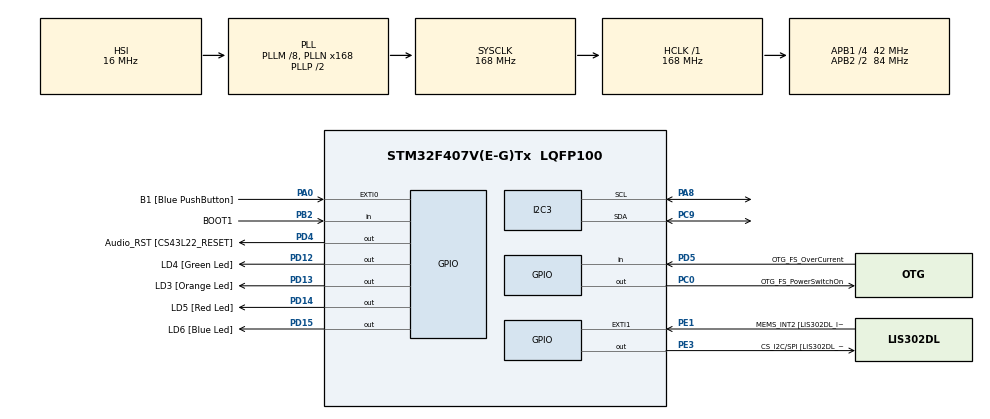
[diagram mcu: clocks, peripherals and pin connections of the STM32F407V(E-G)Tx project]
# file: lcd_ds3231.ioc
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Mcu.Family=STM32F4
Mcu.Name=STM32F407V(E-G)Tx
Mcu.Package=LQFP100
NVIC.PriorityGroup=NVIC_PRIORITYGROUP_0
PA0-WKUP.GPIO_Label=B1 [Blue PushButton]
PA0-WKUP.Signal=GPXTI0
PA10.GPIO_Label=OTG_FS_ID
PA10.GPIO_Mode=GPIO_MODE_AF_PP
PA10.GPIO_PuPd=GPIO_NOPULL
PA10.GPIO_Speed=GPIO_SPEED_FREQ_LOW
PA10.Signal=USB_OTG_FS_ID
PA11.GPIO_Label=OTG_FS_DM
PA11.GPIO_Mode=GPIO_MODE_AF_PP
PA11.GPIO_PuPd=GPIO_NOPULL
PA11.GPIO_Speed=GPIO_SPEED_FREQ_LOW
PA11.Signal=USB_OTG_FS_DM
PA12.GPIO_Label=OTG_FS_DP
PA12.GPIO_Mode=GPIO_MODE_AF_PP
PA12.GPIO_PuPd=GPIO_NOPULL
PA12.GPIO_Speed=GPIO_SPEED_FREQ_LOW
PA12.Signal=USB_OTG_FS_DP
PA13.GPIO_Label=SWDIO
PA13.Signal=SYS_JTMS-SWDIO
PA14.GPIO_Label=SWCLK
PA14.Signal=SYS_JTCK-SWCLK
PA4.GPIO_Label=I2S3_WS [CS43L22_LRCK]
PA4.GPIO_Mode=GPIO_MODE_AF_PP
PA4.GPIO_PuPd=GPIO_NOPULL
PA4.GPIO_Speed=GPIO_SPEED_FREQ_LOW
PA4.Signal=I2S3_WS
PA5.GPIO_Label=SPI1_SCK [LIS302DL_SCL/SPC]
PA5.GPIO_Mode=GPIO_MODE_AF_PP
PA5.GPIO_PuPd=GPIO_NOPULL
PA5.GPIO_Speed=GPIO_SPEED_FREQ_LOW
PA5.Signal=SPI1_SCK
PA6.GPIO_Label=SPI1_MISO [LIS302DL_SDO]
PA6.GPIO_Mode=GPIO_MODE_AF_PP
PA6.GPIO_PuPd=GPIO_NOPULL
PA6.GPIO_Speed=GPIO_SPEED_FREQ_LOW
PA6.Signal=SPI1_MISO
PA7.GPIO_Label=SPI1_MOSI [LIS302DL_SDA/SDI/SDO]
PA7.GPIO_Mode=GPIO_MODE_AF_PP
PA7.GPIO_PuPd=GPIO_NOPULL
PA7.GPIO_Speed=GPIO_SPEED_FREQ_LOW
PA7.Signal=SPI1_MOSI
PA8.Mode=I2C
PA8.Signal=I2C3_SCL
PA9.GPIO_Label=VBUS_FS
PA9.GPIO_Mode=GPIO_MODE_INPUT
PA9.GPIO_PuPd=GPIO_NOPULL
PA9.Signal=USB_OTG_FS_VBUS
PB10.GPIO_Label=CLK_IN [MP45DT02_CLK]
PB10.GPIO_Mode=GPIO_MODE_AF_PP
PB10.GPIO_PuPd=GPIO_NOPULL
PB10.GPIO_Speed=GPIO_SPEED_FREQ_LOW
PB10.Signal=I2S2_CK
PB2.GPIO_Label=BOOT1
PB2.GPIO_Mode=GPIO_MODE_INPUT
PB2.GPIO_PuPd=GPIO_NOPULL
PB2.Signal=GPIO_Input
PB3.GPIO_Label=SWO
PB3.Signal=SYS_JTDO-SWO
PB6.GPIO_Label=Audio_SCL [CS43L22_SCL]
PB6.GPIO_Mode=GPIO_MODE_AF_OD
PB6.GPIO_PuPd=GPIO_NOPULL
PB6.GPIO_Speed=GPIO_SPEED_FREQ_LOW
PB6.Signal=I2C1_SCL
PB9.GPIO_Label=Audio_SDA [CS43L22_SDA]
PB9.GPIO_Mode=GPIO_MODE_AF_OD
PB9.GPIO_PuPd=GPIO_NOPULL
PB9.GPIO_Speed=GPIO_SPEED_FREQ_LOW
PB9.Signal=I2C1_SDA
PC0.GPIO_Label=OTG_FS_PowerSwitchOn
PC0.GPIO_PuPd=GPIO_NOPULL
PC0.GPIO_Speed=GPIO_SPEED_FREQ_LOW
PC0.PinState=GPIO_PIN_SET
PC0.Signal=GPIO_Output
PC10.GPIO_Label=I2S3_SCK [CS43L22_SCLK]
PC10.GPIO_Mode=GPIO_MODE_AF_PP
PC10.GPIO_PuPd=GPIO_NOPULL
PC10.GPIO_Speed=GPIO_SPEED_FREQ_LOW
PC10.Signal=I2S3_CK
PC12.GPIO_Label=I2S3_SD [CS43L22_SDIN]
PC12.GPIO_Mode=GPIO_MODE_AF_PP
PC12.GPIO_PuPd=GPIO_NOPULL
PC12.GPIO_Speed=GPIO_SPEED_FREQ_LOW
PC12.Signal=I2S3_SD
PC14-OSC32_IN.GPIO_Label=PC14-OSC32_IN
PC14-OSC32_IN.Signal=RCC_OSC32_IN
PC15-OSC32_OUT.GPIO_Label=PC15-OSC32_OUT
PC15-OSC32_OUT.Signal=RCC_OSC32_OUT
PC3.GPIO_Label=PDM_OUT [MP45DT02_DOUT]
PC3.GPIO_Mode=GPIO_MODE_AF_PP
PC3.GPIO_PuPd=GPIO_NOPULL
PC3.GPIO_Speed=GPIO_SPEED_FREQ_LOW
PC3.Signal=I2S2_SD
PC7.GPIO_Label=I2S3_MCK [CS43L22_MCLK]
PC7.GPIO_Mode=GPIO_MODE_AF_PP
PC7.GPIO_PuPd=GPIO_NOPULL
PC7.GPIO_Speed=GPIO_SPEED_FREQ_LOW
PC7.Signal=I2S3_MCK
PC9.Mode=I2C
PC9.Signal=I2C3_SDA
PD12.GPIO_Label=LD4 [Green Led]
PD12.GPIO_PuPd=GPIO_NOPULL
PD12.GPIO_Speed=GPIO_SPEED_FREQ_LOW
PD12.Signal=GPIO_Output
PD13.GPIO_Label=LD3 [Orange Led]
PD13.GPIO_PuPd=GPIO_NOPULL
PD13.GPIO_Speed=GPIO_SPEED_FREQ_LOW
PD13.Signal=GPIO_Output
PD14.GPIO_Label=LD5 [Red Led]
PD14.GPIO_PuPd=GPIO_NOPULL
PD14.GPIO_Speed=GPIO_SPEED_FREQ_LOW
PD14.Signal=GPIO_Output
PD15.GPIO_Label=LD6 [Blue Led]
PD15.GPIO_PuPd=GPIO_NOPULL
PD15.GPIO_Speed=GPIO_SPEED_FREQ_LOW
PD15.Signal=GPIO_Output
PD4.GPIO_Label=Audio_RST [CS43L22_RESET]
PD4.GPIO_PuPd=GPIO_NOPULL
PD4.GPIO_Speed=GPIO_SPEED_FREQ_LOW
PD4.Signal=GPIO_Output
PD5.GPIO_Label=OTG_FS_OverCurrent
PD5.GPIO_Mode=GPIO_MODE_INPUT
PD5.GPIO_PuPd=GPIO_NOPULL
PD5.Signal=GPIO_Input
PE1.GPIO_Label=MEMS_INT2 [LIS302DL_INT2]
PE1.GPIO_ModeDefaultEXTI=GPIO_MODE_EVT_RISING
PE1.GPIO_PuPd=GPIO_NOPULL
PE1.Signal=GPXTI1
PE3.GPIO_Label=CS_I2C/SPI [LIS302DL_CS_I2C/SPI]
PE3.GPIO_PuPd=GPIO_NOPULL
PE3.GPIO_Speed=GPIO_SPEED_FREQ_LOW
PE3.Signal=GPIO_Output
PH0-OSC_IN.GPIO_Label=PH0-OSC_IN
PH0-OSC_IN.Mode=HSE-External-Oscillator
PH0-OSC_IN.Signal=RCC_OSC_IN
PH1-OSC_OUT.GPIO_Label=PH1-OSC_OUT
PH1-OSC_OUT.Mode=HSE-External-Oscillator
PH1-OSC_OUT.Signal=RCC_OSC_OUT
ProjectManager.HeapSize=0x200
ProjectManager.StackSize=0x400
ProjectManager.TargetToolchain=MDK-ARM V5.32
RCC.48MHZClocksFreq_Value=48000000
RCC.AHBFreq_Value=168000000
RCC.APB1CLKDivider=RCC_HCLK_DIV4
RCC.APB1Freq_Value=42000000
RCC.APB1TimFreq_Value=84000000
RCC.APB2CLKDivider=RCC_HCLK_DIV2
RCC.APB2Freq_Value=84000000
RCC.APB2TimFreq_Value=168000000
RCC.CortexFreq_Value=168000000
RCC.HCLKFreq_Value=168000000
RCC.HSE_VALUE=8000000
RCC.HSI_VALUE=16000000
RCC.LSE_VALUE=32768
RCC.PLLM=8
RCC.PLLN=168
RCC.PLLQ=7
RCC.SYSCLKFreq_VALUE=168000000
RCC.SYSCLKSource=RCC_SYSCLKSOURCE_PLLCLK
RCC.VCOOutputFreq_Value=336000000
board=STM32F407G-DISC1

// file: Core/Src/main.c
/* USER CODE BEGIN Header */
/**
  ******************************************************************************
  * @file           : main.c
  * @brief          : Main program body
  ******************************************************************************
  * @attention
  *
  * Copyright (c) 2024 STMicroelectronics.
  * All rights reserved.
  *
  * This software is licensed under terms that can be found in the LICENSE file
  * in the root directory of this software component.
  * If no LICENSE file comes with this software, it is provided AS-IS.
  *
  ******************************************************************************
  */
/* USER CODE END Header */
#include "main.h"
#include "stdio.h"
/* USER CODE BEGIN Includes */
#include "i2c-lcd.h"
/* USER CODE END Includes */

I2C_HandleTypeDef hi2c3;

void SystemClock_Config(void);
static void MX_GPIO_Init(void);
static void MX_I2C3_Init(void);

/* USER CODE BEGIN 0 */
#define DS3231_ADDRESS 0xD0

// Convert normal decimal numbers to binary coded decimal
uint8_t decToBcd(int val)
{
  return (uint8_t)( (val/10*16) + (val%10) );
}
// Convert binary coded decimal to normal decimal numbers
int bcdToDec(uint8_t val)
{
  return (int)( (val/16*10) + (val%16) );
}

typedef struct {
	uint8_t seconds;
	uint8_t minutes;
	uint8_t hour;
	uint8_t dayofweek;
	uint8_t dayofmonth;
	uint8_t month;
	uint8_t year;
}TIME;

TIME time;

// Function to set time
void Set_Time (uint8_t sec, uint8_t min, uint8_t hour, uint8_t dow, uint8_t dom, uint8_t month, uint8_t year)
{
	uint8_t set_time[7];
	set_time[0] = decToBcd(sec);
	set_time[1] = decToBcd(min);
	set_time[2] = decToBcd(hour);
	set_time[3] = decToBcd(dow);
	set_time[4] = decToBcd(dom);
	set_time[5] = decToBcd(month);
	set_time[6] = decToBcd(year);

	HAL_I2C_Mem_Write(&hi2c3, DS3231_ADDRESS, 0x00, 1, set_time, 7, 1000);
}

// Function to get time
void Get_Time (void)
{
	uint8_t get_time[7];
	HAL_I2C_Mem_Read(&hi2c3, DS3231_ADDRESS, 0x00, 1, get_time, 7, 1000);
	time.seconds = bcdToDec(get_time[0]);
	time.minutes = bcdToDec(get_time[1]);
	time.hour = bcdToDec(get_time[2]);
	time.dayofweek = bcdToDec(get_time[3]);
	time.dayofmonth = bcdToDec(get_time[4]);
	time.month = bcdToDec(get_time[5]);
	time.year = bcdToDec(get_time[6]);
}

float Get_Temp (void)
{
	uint8_t temp[2];
	HAL_I2C_Mem_Read(&hi2c3, DS3231_ADDRESS, 0x11, 1, temp, 2, 1000);
	return ((temp[0])+(temp[1]>>6)/4.0);
}

void force_temp_conv (void)
{
	uint8_t status=0;
	uint8_t control=0;
	HAL_I2C_Mem_Read(&hi2c3, DS3231_ADDRESS, 0x0F, 1, &status, 1, 100);  // read status register
	if (!(status&0x04))  // if the BSY bit is not set
	{
		HAL_I2C_Mem_Read(&hi2c3, DS3231_ADDRESS, 0x0E, 1, &control, 1, 100);  // read control register
		HAL_I2C_Mem_Write(&hi2c3, DS3231_ADDRESS, 0x0E, 1, (uint8_t *)(control|(0x20)), 1, 100);  // write modified control register with CONV bit as'1'
	}
}

float TEMP;
char buffer[15];
/* USER CODE END 0 */

int main(void)
{

  /* MCU Configuration--------------------------------------------------------*/

  /* Reset of all peripherals, Initializes the Flash interface and the Systick. */
  HAL_Init();

  /* Configure the system clock */
  SystemClock_Config();

  /* Initialize all configured peripherals */
  MX_GPIO_Init();
  MX_I2C3_Init();
  /* USER CODE BEGIN 2 */
	lcd_init();

//  lcd_send_cmd (0x80|0x00);
//  lcd_send_string("HELLO WORLD");

//  lcd_send_cmd (0x80|0x40);
//  lcd_send_string("LCD 20x4 DEMO");

//  lcd_send_cmd (0x80|0x10);
//  lcd_send_string("BY");

//  lcd_send_cmd (0x80|0x50);
//  lcd_send_string("Shubham Samal ");

// set the time here
//	Set_Time(00, 40, 17, 17, 24, 4, 24);
  /* USER CODE END 2 */

  /* Infinite loop */
  while (1)
  {
		Get_Time();
	  sprintf (buffer, "%02d:%02d:%02d", time.hour, time.minutes, time.seconds);
	  lcd_send_cmd (0x80|0x00);
//		lcd_put_cur (0,0);
	  lcd_send_string(buffer);

	  sprintf (buffer, "%02d-%02d-20%02d", time.dayofmonth, time.month, time.year);
		lcd_send_cmd (0x80|0x40);
//	  lcd_put_cur(1, 0);
	  lcd_send_string(buffer);

	  force_temp_conv();

	  TEMP = Get_Temp();

		lcd_send_cmd (0x80|0x10);

//	  lcd_put_cur(0, 10);

	  sprintf (buffer, "%f", TEMP);

	  lcd_send_string(buffer);

	  HAL_Delay(500);
  }
}

void SystemClock_Config(void)
{
  RCC_OscInitTypeDef RCC_OscInitStruct = {0};
  RCC_ClkInitTypeDef RCC_ClkInitStruct = {0};

  /** Configure the main internal regulator output voltage
  */
  __HAL_RCC_PWR_CLK_ENABLE();
  __HAL_PWR_VOLTAGESCALING_CONFIG(PWR_REGULATOR_VOLTAGE_SCALE1);

  /** Initializes the RCC Oscillators according to the specified parameters
  * in the RCC_OscInitTypeDef structure.
  */
  RCC_OscInitStruct.OscillatorType = RCC_OSCILLATORTYPE_HSI;
  RCC_OscInitStruct.HSIState = RCC_HSI_ON;
  RCC_OscInitStruct.HSICalibrationValue = RCC_HSICALIBRATION_DEFAULT;
  RCC_OscInitStruct.PLL.PLLState = RCC_PLL_ON;
  RCC_OscInitStruct.PLL.PLLSource = RCC_PLLSOURCE_HSI;
  RCC_OscInitStruct.PLL.PLLM = 8;
  RCC_OscInitStruct.PLL.PLLN = 168;
  RCC_OscInitStruct.PLL.PLLP = RCC_PLLP_DIV2;
  RCC_OscInitStruct.PLL.PLLQ = 7;
  if (HAL_RCC_OscConfig(&RCC_OscInitStruct) != HAL_OK)
  {
    Error_Handler();
  }

  /** Initializes the CPU, AHB and APB buses clocks
  */
  RCC_ClkInitStruct.ClockType = RCC_CLOCKTYPE_HCLK|RCC_CLOCKTYPE_SYSCLK
                              |RCC_CLOCKTYPE_PCLK1|RCC_CLOCKTYPE_PCLK2;
  RCC_ClkInitStruct.SYSCLKSource = RCC_SYSCLKSOURCE_PLLCLK;
  RCC_ClkInitStruct.AHBCLKDivider = RCC_SYSCLK_DIV1;
  RCC_ClkInitStruct.APB1CLKDivider = RCC_HCLK_DIV4;
  RCC_ClkInitStruct.APB2CLKDivider = RCC_HCLK_DIV2;

  if (HAL_RCC_ClockConfig(&RCC_ClkInitStruct, FLASH_LATENCY_5) != HAL_OK)
  {
    Error_Handler();
  }
}

static void MX_I2C3_Init(void)
{

  hi2c3.Instance = I2C3;
  hi2c3.Init.ClockSpeed = 100000;
  hi2c3.Init.DutyCycle = I2C_DUTYCYCLE_2;
  hi2c3.Init.OwnAddress1 = 0;
  hi2c3.Init.AddressingMode = I2C_ADDRESSINGMODE_7BIT;
  hi2c3.Init.DualAddressMode = I2C_DUALADDRESS_DISABLE;
  hi2c3.Init.OwnAddress2 = 0;
  hi2c3.Init.GeneralCallMode = I2C_GENERALCALL_DISABLE;
  hi2c3.Init.NoStretchMode = I2C_NOSTRETCH_DISABLE;
  if (HAL_I2C_Init(&hi2c3) != HAL_OK)
  {
    Error_Handler();
  }

}

static void MX_GPIO_Init(void)
{
  GPIO_InitTypeDef GPIO_InitStruct = {0};

  /* GPIO Ports Clock Enable */
  __HAL_RCC_GPIOE_CLK_ENABLE();
  __HAL_RCC_GPIOC_CLK_ENABLE();
  __HAL_RCC_GPIOH_CLK_ENABLE();
  __HAL_RCC_GPIOA_CLK_ENABLE();
  __HAL_RCC_GPIOB_CLK_ENABLE();
  __HAL_RCC_GPIOD_CLK_ENABLE();

  /*Configure GPIO pin Output Level */
  HAL_GPIO_WritePin(CS_I2C_SPI_GPIO_Port, CS_I2C_SPI_Pin, GPIO_PIN_RESET);

  /*Configure GPIO pin Output Level */
  HAL_GPIO_WritePin(OTG_FS_PowerSwitchOn_GPIO_Port, OTG_FS_PowerSwitchOn_Pin, GPIO_PIN_SET);

  /*Configure GPIO pin Output Level */
  HAL_GPIO_WritePin(GPIOD, LD4_Pin|LD3_Pin|LD5_Pin|LD6_Pin
                          |Audio_RST_Pin, GPIO_PIN_RESET);

  /*Configure GPIO pin : CS_I2C_SPI_Pin */
  GPIO_InitStruct.Pin = CS_I2C_SPI_Pin;
  GPIO_InitStruct.Mode = GPIO_MODE_OUTPUT_PP;
  GPIO_InitStruct.Pull = GPIO_NOPULL;
  GPIO_InitStruct.Speed = GPIO_SPEED_FREQ_LOW;
  HAL_GPIO_Init(CS_I2C_SPI_GPIO_Port, &GPIO_InitStruct);

  /*Configure GPIO pin : OTG_FS_PowerSwitchOn_Pin */
  GPIO_InitStruct.Pin = OTG_FS_PowerSwitchOn_Pin;
  GPIO_InitStruct.Mode = GPIO_MODE_OUTPUT_PP;
  GPIO_InitStruct.Pull = GPIO_NOPULL;
  GPIO_InitStruct.Speed = GPIO_SPEED_FREQ_LOW;
  HAL_GPIO_Init(OTG_FS_PowerSwitchOn_GPIO_Port, &GPIO_InitStruct);

  /*Configure GPIO pin : PDM_OUT_Pin */
  GPIO_InitStruct.Pin = PDM_OUT_Pin;
  GPIO_InitStruct.Mode = GPIO_MODE_AF_PP;
  GPIO_InitStruct.Pull = GPIO_NOPULL;
  GPIO_InitStruct.Speed = GPIO_SPEED_FREQ_LOW;
  GPIO_InitStruct.Alternate = GPIO_AF5_SPI2;
  HAL_GPIO_Init(PDM_OUT_GPIO_Port, &GPIO_InitStruct);

  /*Configure GPIO pin : B1_Pin */
  GPIO_InitStruct.Pin = B1_Pin;
  GPIO_InitStruct.Mode = GPIO_MODE_IT_RISING;
  GPIO_InitStruct.Pull = GPIO_NOPULL;
  HAL_GPIO_Init(B1_GPIO_Port, &GPIO_InitStruct);

  /*Configure GPIO pin : I2S3_WS_Pin */
  GPIO_InitStruct.Pin = I2S3_WS_Pin;
  GPIO_InitStruct.Mode = GPIO_MODE_AF_PP;
  GPIO_InitStruct.Pull = GPIO_NOPULL;
  GPIO_InitStruct.Speed = GPIO_SPEED_FREQ_LOW;
  GPIO_InitStruct.Alternate = GPIO_AF6_SPI3;
  HAL_GPIO_Init(I2S3_WS_GPIO_Port, &GPIO_InitStruct);

  /*Configure GPIO pins : SPI1_SCK_Pin SPI1_MISO_Pin SPI1_MOSI_Pin */
  GPIO_InitStruct.Pin = SPI1_SCK_Pin|SPI1_MISO_Pin|SPI1_MOSI_Pin;
  GPIO_InitStruct.Mode = GPIO_MODE_AF_PP;
  GPIO_InitStruct.Pull = GPIO_NOPULL;
  GPIO_InitStruct.Speed = GPIO_SPEED_FREQ_LOW;
  GPIO_InitStruct.Alternate = GPIO_AF5_SPI1;
  HAL_GPIO_Init(GPIOA, &GPIO_InitStruct);

  /*Configure GPIO pin : BOOT1_Pin */
  GPIO_InitStruct.Pin = BOOT1_Pin;
  GPIO_InitStruct.Mode = GPIO_MODE_INPUT;
  GPIO_InitStruct.Pull = GPIO_NOPULL;
  HAL_GPIO_Init(BOOT1_GPIO_Port, &GPIO_InitStruct);

  /*Configure GPIO pin : CLK_IN_Pin */
  GPIO_InitStruct.Pin = CLK_IN_Pin;
  GPIO_InitStruct.Mode = GPIO_MODE_AF_PP;
  GPIO_InitStruct.Pull = GPIO_NOPULL;
  GPIO_InitStruct.Speed = GPIO_SPEED_FREQ_LOW;
  GPIO_InitStruct.Alternate = GPIO_AF5_SPI2;
  HAL_GPIO_Init(CLK_IN_GPIO_Port, &GPIO_InitStruct);

  /*Configure GPIO pins : LD4_Pin LD3_Pin LD5_Pin LD6_Pin
                           Audio_RST_Pin */
  GPIO_InitStruct.Pin = LD4_Pin|LD3_Pin|LD5_Pin|LD6_Pin
                          |Audio_RST_Pin;
  GPIO_InitStruct.Mode = GPIO_MODE_OUTPUT_PP;
  GPIO_InitStruct.Pull = GPIO_NOPULL;
  GPIO_InitStruct.Speed = GPIO_SPEED_FREQ_LOW;
  HAL_GPIO_Init(GPIOD, &GPIO_InitStruct);

  /*Configure GPIO pins : I2S3_MCK_Pin I2S3_SCK_Pin I2S3_SD_Pin */
  GPIO_InitStruct.Pin = I2S3_MCK_Pin|I2S3_SCK_Pin|I2S3_SD_Pin;
  GPIO_InitStruct.Mode = GPIO_MODE_AF_PP;
  GPIO_InitStruct.Pull = GPIO_NOPULL;
  GPIO_InitStruct.Speed = GPIO_SPEED_FREQ_LOW;
  GPIO_InitStruct.Alternate = GPIO_AF6_SPI3;
  HAL_GPIO_Init(GPIOC, &GPIO_InitStruct);

  /*Configure GPIO pin : VBUS_FS_Pin */
  GPIO_InitStruct.Pin = VBUS_FS_Pin;
  GPIO_InitStruct.Mode = GPIO_MODE_INPUT;
  GPIO_InitStruct.Pull = GPIO_NOPULL;
  HAL_GPIO_Init(VBUS_FS_GPIO_Port, &GPIO_InitStruct);

  /*Configure GPIO pins : OTG_FS_ID_Pin OTG_FS_DM_Pin OTG_FS_DP_Pin */
  GPIO_InitStruct.Pin = OTG_FS_ID_Pin|OTG_FS_DM_Pin|OTG_FS_DP_Pin;
  GPIO_InitStruct.Mode = GPIO_MODE_AF_PP;
  GPIO_InitStruct.Pull = GPIO_NOPULL;
  GPIO_InitStruct.Speed = GPIO_SPEED_FREQ_LOW;
  GPIO_InitStruct.Alternate = GPIO_AF10_OTG_FS;
  HAL_GPIO_Init(GPIOA, &GPIO_InitStruct);

  /*Configure GPIO pin : OTG_FS_OverCurrent_Pin */
  GPIO_InitStruct.Pin = OTG_FS_OverCurrent_Pin;
  GPIO_InitStruct.Mode = GPIO_MODE_INPUT;
  GPIO_InitStruct.Pull = GPIO_NOPULL;
  HAL_GPIO_Init(OTG_FS_OverCurrent_GPIO_Port, &GPIO_InitStruct);

  /*Configure GPIO pins : Audio_SCL_Pin Audio_SDA_Pin */
  GPIO_InitStruct.Pin = Audio_SCL_Pin|Audio_SDA_Pin;
  GPIO_InitStruct.Mode = GPIO_MODE_AF_OD;
  GPIO_InitStruct.Pull = GPIO_NOPULL;
  GPIO_InitStruct.Speed = GPIO_SPEED_FREQ_LOW;
  GPIO_InitStruct.Alternate = GPIO_AF4_I2C1;
  HAL_GPIO_Init(GPIOB, &GPIO_InitStruct);

  /*Configure GPIO pin : MEMS_INT2_Pin */
  GPIO_InitStruct.Pin = MEMS_INT2_Pin;
  GPIO_InitStruct.Mode = GPIO_MODE_EVT_RISING;
  GPIO_InitStruct.Pull = GPIO_NOPULL;
  HAL_GPIO_Init(MEMS_INT2_GPIO_Port, &GPIO_InitStruct);

}

void Error_Handler(void)
{
  __disable_irq();
  while (1)
  {
  }
}
